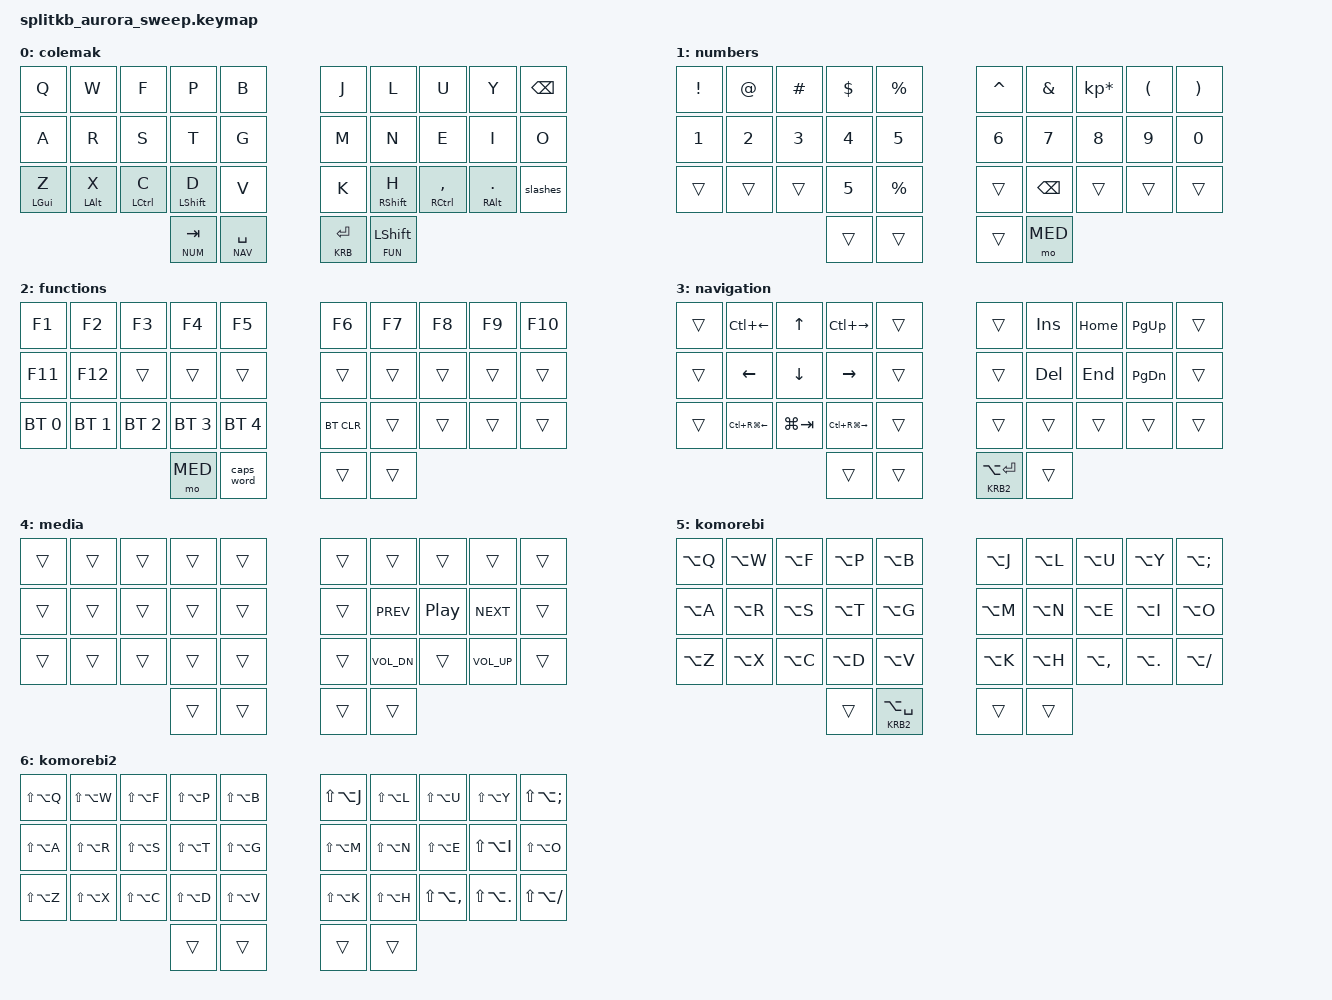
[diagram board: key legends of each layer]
/*
 * Copyright (c) 2022 The ZMK Contributors
 *
 * SPDX-License-Identifier: MIT
 */

#include <behaviors.dtsi>
#include <dt-bindings/zmk/keys.h>
#include <dt-bindings/zmk/bt.h>
#include "zmk-helpers/helper.h"
#include "zmk-helpers/key-labels/34.h"

#define DEF 0
#define NUM 1
#define FUN 2
#define NAV 3
#define MED 4
#define KRB 5
#define KRB2 6

#undef COMBO_TERM
#define COMBO_TERM 20

// Two-hand combos:
ZMK_COMBO(combo_hrcaps, &caps_word, LB1 RB1) // D H

// Left-hand combos:
ZMK_COMBO(combo_close,  &kp LC(W), LT4 LT3) // Q W
ZMK_COMBO(combo_esc,    &kp ESC,   LT3 LT2) // W F
ZMK_COMBO(combo_tab,    &kp TAB,   LT2 LT1) // F P
ZMK_COMBO(combo_ctlaltdel, &kp LC(LA(DEL)), LT4 LT3 LT2 LT1) // Q W F P

ZMK_COMBO(combo_all,    &kp LC(A), LM4 LM3) // A R
ZMK_COMBO(combo_bspace, &kp BSPC,  LM3 LM2) // R S
ZMK_COMBO(combo_del,    &kp DEL,   LM2 LM1) // S T
ZMK_COMBO(combo_delw,   &kp LC(BSPC), LM3 LM2 LM1) // R S T
// ZMK_COMBO(combo_delln,  &del_line, LM4 LM3 LM2 LM1) // A R S T
// ZMK_COMBO(combo_newln,  &mm_newline, LM1 LM0) // T G

ZMK_COMBO(combo_undo,   &kp LC(Z), LB4 LB3) // Z X
ZMK_COMBO(combo_copy,   &kp LC(C), LB3 LB2) // X C
ZMK_COMBO(combo_paste,  &kp LC(V), LB2 LB1) // C D
ZMK_COMBO(combo_cut,    &kp LC(X), LB3 LB2 LB1) // X C D
// ZMK_COMBO(combo_selln,  &select_line, LB1 LB0) // D V

ZMK_COMBO(combo_enter, &kp ENTER, LB3 LM2) // X S
ZMK_COMBO(combo_kapp,  &kp K_APP, LM2 LB1) // S D

// Right-hand combos:
ZMK_COMBO(combo_tilde,  &kp TILDE, RT0 RT1) // J L
ZMK_COMBO(combo_excl,   &kp EXCL,  RT1 RT2) // L U
ZMK_COMBO(combo_qmrk,   &kp QMARK, RT2 RT3) // U Y
ZMK_COMBO(combo_smcln,  &kp SEMI,  RT1 RT3) // L Y
ZMK_COMBO(combo_plus,   &kp PLUS,  RT1 RT2 RT3) // L U Y
ZMK_COMBO(combo_bqt,    &kp GRAVE, RT3 RT4) // Y ;

ZMK_COMBO(combo_undscr, &kp UNDER, RM0 RM1) // M N
ZMK_COMBO(combo_dash,   &kp MINUS, RM1 RM2) // N E
ZMK_COMBO(combo_sqt,    &kp SQT,   RM2 RM3) // E I
ZMK_COMBO(combo_dqt,    &kp DQT,   RM3 RM4) // I O
ZMK_COMBO(combo_equal,  &kp EQUAL, RM1 RM2 RM3) // N E I
ZMK_COMBO(combo_colon,  &kp COLON, RM1 RM3) // N I

ZMK_COMBO(combo_pipe,   &kp PIPE,  RT0 RM0) // M J
ZMK_COMBO(combo_lbrace, &kp LBRC,  RM1 RT2) // N U
ZMK_COMBO(combo_rbrace, &kp RBRC,  RT2 RM3) // U I
ZMK_COMBO(combo_lbkt,   &kp LBKT,  RB1 RM2) // H E
ZMK_COMBO(combo_rbkt,   &kp RBKT,  RM2 RB3) // E >

// ZMK_COMBO(combo_dotdotsl, &dot_dot_slash, RB3 RB4) // . /

// Macros:
ZMK_BEHAVIOR(del_line, macro,
    bindings = <&macro_tap &kp END>
        , <&macro_tap &kp LS(HOME)>
        , <&macro_tap &kp LS(HOME)>
        , <&macro_tap &kp BSPC>
        , <&macro_tap &kp BSPC>;
)
ZMK_BEHAVIOR(dot_dot_slash, macro,
    bindings = <&macro_tap &kp DOT>
        , <&macro_tap &kp DOT>
        , <&macro_tap &kp FSLH>
        ;
)

// Hold-tap behaviors
ZMK_BEHAVIOR(hm, hold_tap,
    tapping_term_ms = <200>;
    flavor = "tap-preferred";
    bindings = <&kp>, <&kp>;
)
ZMK_BEHAVIOR(lt_hp, hold_tap,
    tapping-term-ms = <200>;
    quick-tap-ms = <0>;
    flavor = "hold-preferred";
    bindings = <&mo>, <&kp>;
)
ZMK_BEHAVIOR(lt_rpi, hold_tap,
    tapping-term-ms = <200>;
    quick-tap-ms = <0>;
    require-prior-idle-ms = <200>;
    flavor = "tap-preferred";
    bindings = <&mo>, <&kp>;
)
ZMK_BEHAVIOR(lt_bal, hold_tap,
    tapping-term-ms = <200>;
    quick-tap-ms = <0>;
    flavor = "balanced";
    bindings = <&mo>, <&kp>;
)
ZMK_BEHAVIOR(skq, sticky_key,
    quick-release;
    release-after-ms = <1000>;
    bindings = <&kp>;
)
ZMK_BEHAVIOR(ltst_hp, hold_tap,
    tapping-term-ms = <200>;
    quick-tap-ms = <0>;
    flavor = "hold-preferred";
    bindings = <&mo>, <&skq>;
)

// ModMorphs:
ZMK_BEHAVIOR(slashes, mod_morph,
    bindings = <&hm RGUI FSLH>, <&kp BSLH>;
    mods = <(MOD_LSFT|MOD_RSFT)>;
)

// Using layer taps on thumbs, having quick tap as well helps w/ repeating space/backspace
&lt { quick_tap_ms = <200>; };

// Max 9 characters per key
#define HMLGUIZ   &hm LGUI Z
#define HMLALTX   &hm LALT X
#define HMLCTLC   &hm LCTRL C
#define HMLSFTD   &hm LSHFT D
#define HMRSFTH   &hm RSHFT H
#define HMRCTLCOM &hm RCTRL COMMA
#define HMRALTDOT &hm RALT DOT
#define HMRGUISLH &hm RGUI &slashes
#define LTNAVSPAC &lt_bal NAV SPACE
#define LTNUMTAB  &lt_hp NUM TAB
#define LTKRBRET  &lt_rpi KRB RETURN
#define LTFUNSTS  &ltst_hp FUN LSHIFT
#define STARSBL   &kp KP_MULTIPLY
#define WORDPREV  &kp LC(LEFT)
#define WORDNEXT  &kp LC(RIGHT)
#define DESKLEFT  &kp LC(RG(LEFT))
#define DESKRIGHT &kp LC(RG(RIGHT))
#define TASKVIEW  &kp LG(TAB)
#define BTCLR     &bt BT_CLR
#define BTSEL0    &bt BT_SEL 0
#define BTSEL1    &bt BT_SEL 1
#define BTSEL2    &bt BT_SEL 2
#define BTSEL3    &bt BT_SEL 3
#define BTSEL4    &bt BT_SEL 4
#define VOLUMUP   &kp C_VOL_UP
#define VOLUMDN   &kp C_VOL_DN
#define PREVIOUS  &kp C_PREV
#define NEXT      &kp C_NEXT
#define ASPK2     &lt_bal KRB2 LA(SPACE)
#define ARTK2     &lt_bal KRB2 LA(RETURN)


ZMK_LAYER(colemak,
                &kp Q     &kp W     &kp F     &kp P     &kp B       &kp J     &kp L     &kp U     &kp Y     &kp BSPC
                &kp A     &kp R     &kp S     &kp T     &kp G       &kp M     &kp N     &kp E     &kp I     &kp O
                HMLGUIZ   HMLALTX   HMLCTLC   HMLSFTD   &kp V       &kp K     HMRSFTH   HMRCTLCOM HMRALTDOT &slashes
                                              LTNUMTAB  LTNAVSPAC   LTKRBRET  LTFUNSTS
)
ZMK_LAYER(numbers,
                &kp EXCL  &kp AT    &kp HASH  &kp DLLR  &kp PRCNT   &kp CARET &kp AMPS  STARSBL   &kp LPAR  &kp RPAR
                &kp N1    &kp N2    &kp N3    &kp N4    &kp N5      &kp N6    &kp N7    &kp N8    &kp N9    &kp N0
                &trans    &trans    &trans    &kp N5    &kp PRCNT   &trans    &kp BSPC  &trans    &trans    &trans
                                              &trans    &trans      &trans    &mo MED
)
ZMK_LAYER(functions,
                &kp F1    &kp F2    &kp F3    &kp F4    &kp F5      &kp F6    &kp F7    &kp F8    &kp F9    &kp F10
                &kp F11   &kp F12   &trans    &trans    &trans      &trans    &trans    &trans    &trans    &trans
                BTSEL0    BTSEL1    BTSEL2    BTSEL3    BTSEL4      BTCLR     &trans    &trans    &trans    &trans
                                              &mo MED   &caps_word  &trans    &trans
)
ZMK_LAYER(navigation,
                &trans    WORDPREV  &kp UP    WORDNEXT  &trans      &trans    &kp INS   &kp HOME  &kp PG_UP &trans
                &trans    &kp LEFT  &kp DOWN  &kp RIGHT &trans      &trans    &kp DEL   &kp END   &kp PG_DN &trans
                &trans    DESKLEFT  TASKVIEW  DESKRIGHT &trans      &trans    &trans    &trans    &trans    &trans
                                              &trans    &trans      ARTK2     &trans
)
ZMK_LAYER(media,
                &trans    &trans    &trans    &trans    &trans      &trans    &trans    &trans    &trans    &trans
                &trans    &trans    &trans    &trans    &trans      &trans    PREVIOUS  &kp C_PP  NEXT      &trans
                &trans    &trans    &trans    &trans    &trans      &trans    VOLUMDN   &trans    VOLUMUP   &trans
                                              &trans    &trans      &trans    &trans
)
ZMK_LAYER(komorebi,
    &kp LA(Q) &kp LA(W) &kp LA(F) &kp LA(P) &kp LA(B)   &kp LA(J) &kp LA(L) &kp LA(U)     &kp LA(Y)   &kp LA(SEMI)
    &kp LA(A) &kp LA(R) &kp LA(S) &kp LA(T) &kp LA(G)   &kp LA(M) &kp LA(N) &kp LA(E)     &kp LA(I)   &kp LA(O)
    &kp LA(Z) &kp LA(X) &kp LA(C) &kp LA(D) &kp LA(V)   &kp LA(K) &kp LA(H) &kp LA(COMMA) &kp LA(DOT) &kp LA(FSLH)
                                  &trans    ASPK2       &trans    &trans
)
ZMK_LAYER(komorebi2,
    &kp LS(LA(Q)) &kp LS(LA(W)) &kp LS(LA(F)) &kp LS(LA(P)) &kp LS(LA(B))   &kp LS(LA(J)) &kp LS(LA(L)) &kp LS(LA(U))     &kp LS(LA(Y))   &kp LS(LA(SEMI))
    &kp LS(LA(A)) &kp LS(LA(R)) &kp LS(LA(S)) &kp LS(LA(T)) &kp LS(LA(G))   &kp LS(LA(M)) &kp LS(LA(N)) &kp LS(LA(E))     &kp LS(LA(I))   &kp LS(LA(O))
    &kp LS(LA(Z)) &kp LS(LA(X)) &kp LS(LA(C)) &kp LS(LA(D)) &kp LS(LA(V))   &kp LS(LA(K)) &kp LS(LA(H)) &kp LS(LA(COMMA)) &kp LS(LA(DOT)) &kp LS(LA(FSLH))
                                              &trans        &trans          &trans        &trans
)

